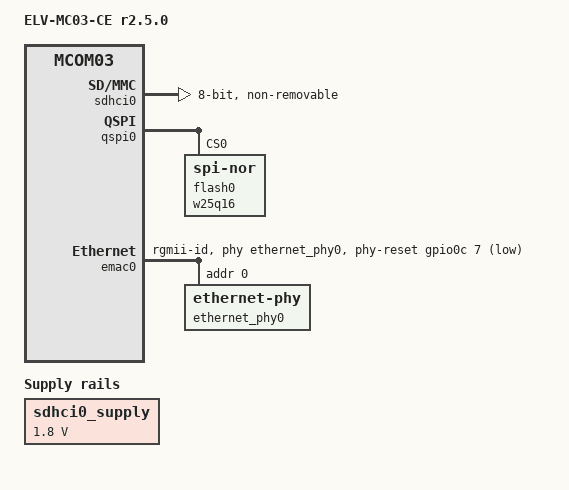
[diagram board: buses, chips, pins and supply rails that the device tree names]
// SPDX-License-Identifier: GPL-2.0+
/*
 * Copyright 2023 RnD Center "ELVEES", JSC
 */

/dts-v1/;

#include <dt-bindings/gpio/gpio.h>

#include "mcom03.dtsi"

/ {
	model = "ELV-MC03-CE r2.5.0";
	compatible = "elvees,elvmc03ce-r2.5.0",
		     "elvees,elvmc03ce",
		     "elvees,mcom03";

	sdhci0_supply: regulator@0 {
		compatible = "regulator-fixed";
		regulator-name = "sdhci0-supply";
		regulator-min-microvolt = <1800000>;
		regulator-max-microvolt = <1800000>;
		regulator-always-on;
	};
};

/* Connected to eMMC */
&sdhci0 {
	status = "okay";

	non-removable;
	bus-width = <8>;

	vqmmc-supply = <&sdhci0_supply>;
};

&qspi0 {
	status = "okay";

	flash0: w25q16@0 {
		#address-cells = <1>;
		#size-cells = <1>;
		compatible = "jedec,spi-nor", "spi-flash";
		reg = <0x0>;

		spi-tx-bus-width = <4>;
		spi-rx-bus-width = <4>;
	};
};

ser1: &uart0 { };

&emac0 {
	phy-mode = "rgmii-id";
	phy-reset-gpios = <&gpio0c 7 GPIO_ACTIVE_LOW>;
	phy-handle = <&ethernet_phy0>;

	ethernet_phy0: ethernet-phy@0 {
		reg = <0x0>;
		motorcomm,clk-out-frequency-hz = <0>;
		rx-internal-delay-ps = <1950>;
		tx-internal-delay-ps = <1350>;
	};
};
